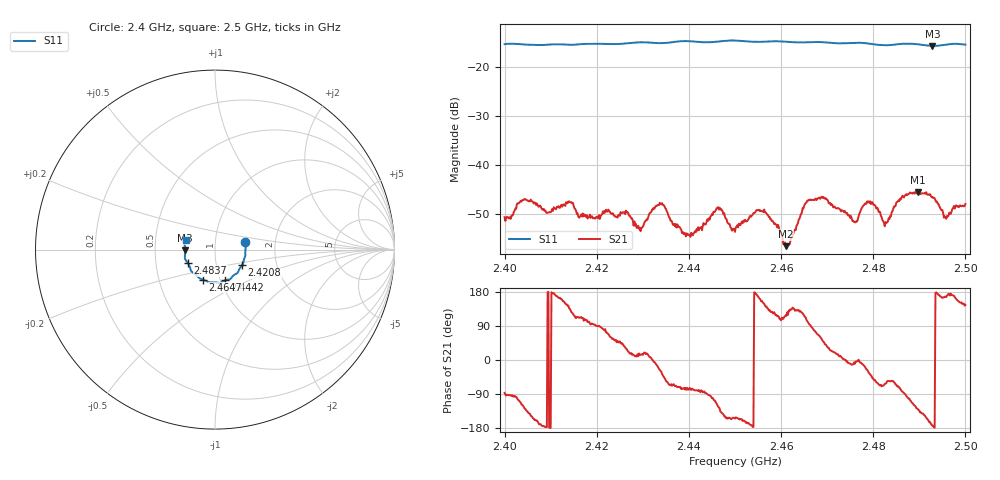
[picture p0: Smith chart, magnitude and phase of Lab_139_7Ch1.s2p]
# Hz S RI R 50
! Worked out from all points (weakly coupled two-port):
!   601 points, 2.4 GHz to 2.5 GHz, reference 50 ohm
!   highest |S21| = -45.44 dB at 2.4897 GHz (marker M1); lowest = -56.5 dB at 2.461 GHz (marker M2)
!   lowest |S11| = -15.6 dB at 2.4928 GHz (marker M3), VSWR 1.40, Z = 35.8 - j0.368 ohm
!   |S11| at or under -10 dB: start of sweep to end of sweep
!   S12 and S22 are empty: the file has one direction only
!   S11 on the Smith chart (normalised r, x): 2.4 GHz: 1.40, +0.12; 2.4208 GHz: 1.33, -0.24; 2.4442 GHz: 1.05, -0.37; 2.4647 GHz: 0.83, -0.29; 2.4837 GHz: 0.73, -0.11; 2.5 GHz: 0.72, +0.08
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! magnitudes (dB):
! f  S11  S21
! 2.4 GHz  -15.2  -50.6
! 2.4043 GHz  -15.3  -46.9
! 2.4167 GHz  -15.2  -50.0
! 2.4208 GHz  -15.2  -50.4
! 2.4297 GHz  -14.9  -52.8
! 2.4333 GHz  -15.0  -48.1
! 2.4398 GHz  -14.6  -54.1
! 2.4442 GHz  -14.9  -51.3
! 2.4465 GHz  -14.7  -49.1
! 2.45 GHz  -14.5  -53.6
! 2.456 GHz  -14.8  -49.4
! 2.461 GHz  -14.8  -56.5
! 2.4647 GHz  -14.9  -48.8
! 2.4667 GHz  -14.8  -47.0
! 2.476 GHz  -15.0  -51.6
! 2.4793 GHz  -15.2  -47.4
! 2.4833 GHz  -15.5  -50.8
! 2.4837 GHz  -15.4  -50.4
! 2.4897 GHz  -15.3  -45.4
! 2.4928 GHz  -15.6  -46.5
! 2.4958 GHz  -15.3  -50.9
! 2.5 GHz  -15.4  -47.9
